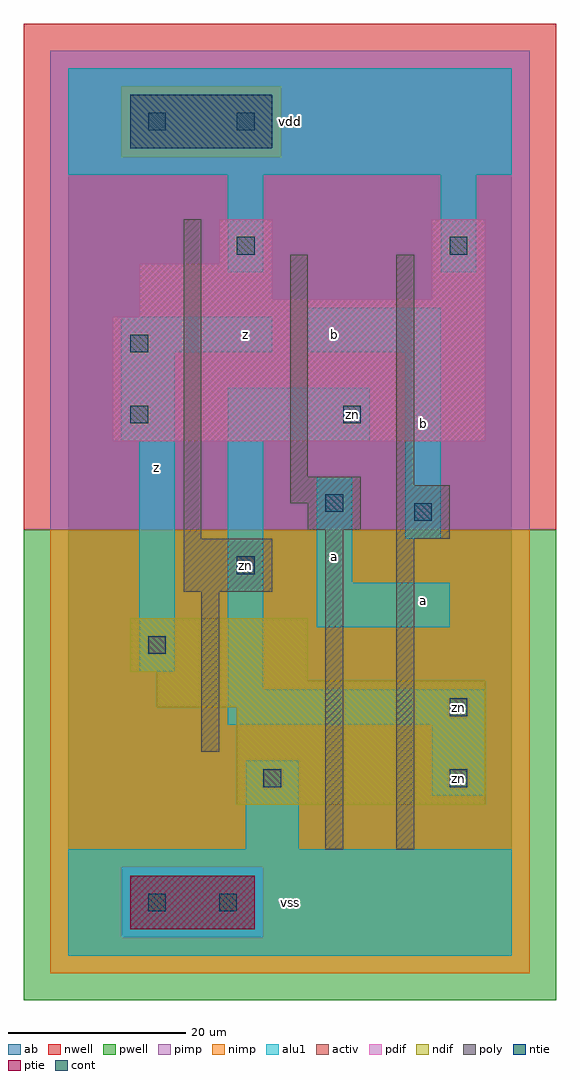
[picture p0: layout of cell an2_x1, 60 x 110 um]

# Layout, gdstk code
import gdstk
lib = gdstk.Library(unit=1e-6, precision=1e-09)
def R(c, l, rs):  # rectangles x0, y0, x1, y1
    for r in rs: c.add(gdstk.rectangle(r[:2], r[2:], *l))
ndif = (3, 0)
pdif = (4, 0)
ntie = (5, 0)
ptie = (6, 0)
cont = (25, 0)
pwell = (41, 0)
nwell = (42, 0)
activ = (43, 0)
pimp = (44, 0)
nimp = (45, 0)
poly = (46, 0)
alu1 = (49, 0)
ab = (63, 0)

an2_x1 = lib.new_cell('an2_x1')
R(an2_x1, ndif, [(19,17,47,28), (10,28,47,31), (10,31,27,32), (7,32,27,38)])
R(an2_x1, pdif, [(5,58,47,72), (8,72,47,74), (8,74,23,78), (41,74,47,83), (17,78,23,83)])
R(an2_x1, ntie, [(7,91,23,97)])
R(an2_x1, ptie, [(7,3,21,9)])
R(an2_x1, cont, [(9,5,11,7), (17,5,19,7), (22,19,24,21), (43,19,45,21), (43,27,45,29), (9,34,11,36), (19,43,21,45), (39,49,41,51), (29,50,31,52), (7,60,9,62), (31,60,33,62), (7,68,9,70), (19,79,21,81), (43,79,45,81), (9,93,11,95), (19,93,21,95)])
R(an2_x1, pwell, [(-5,-5,55,48)])
R(an2_x1, nwell, [(-5,48,55,105)])
R(an2_x1, activ, [(7,3,21,9), (19,17,47,28), (10,28,47,31), (10,31,27,32), (7,32,27,38), (5,58,47,72), (8,72,47,74), (8,74,23,78), (41,74,47,83), (17,78,23,83), (7,91,23,97)])
R(an2_x1, pimp, [(6,2,22,10), (-2,48,52,90), (-2,90,6,98), (24,90,52,98), (-2,98,52,102)])
R(an2_x1, nimp, [(-2,-2,52,2), (-2,2,6,10), (22,2,52,10), (-2,10,52,48), (6,90,24,98)])
R(an2_x1, poly, [(29,12,31,48), (37,12,39,47), (15,23,17,41), (13,41,23,47), (13,47,15,83), (37,47,43,53), (27,48,33,51), (25,51,33,54), (37,53,39,79), (25,54,27,79)])
R(an2_x1, alu1, [(0,0,50,12), (20,12,26,22), (41,18,47,26), (18,26,47,30), (18,30,22,58), (8,32,12,58), (28,37,43,42), (28,42,32,54), (38,47,42,68), (6,58,12,68), (18,58,34,64), (6,68,23,72), (27,68,42,73), (18,77,22,88), (42,77,46,88), (0,88,50,100)])
R(an2_x1, ab, [(0,0,50,100)])
an2_x1.add(gdstk.Label('zn', (20,44), layer=49, texttype=0))
an2_x1.add(gdstk.Label('zn', (44,20), layer=49, texttype=0))
an2_x1.add(gdstk.Label('zn', (44,28), layer=49, texttype=0))
an2_x1.add(gdstk.Label('zn', (32,61), layer=49, texttype=0))
an2_x1.add(gdstk.Label('z', (10,55), layer=49, texttype=0))
an2_x1.add(gdstk.Label('z', (20,70), layer=49, texttype=0))
an2_x1.add(gdstk.Label('vss', (25,6), layer=49, texttype=0))
an2_x1.add(gdstk.Label('a', (30,45), layer=49, texttype=0))
an2_x1.add(gdstk.Label('b', (30,70), layer=49, texttype=0))
an2_x1.add(gdstk.Label('vdd', (25,94), layer=49, texttype=0))
an2_x1.add(gdstk.Label('a', (40,40), layer=49, texttype=0))
an2_x1.add(gdstk.Label('b', (40,60), layer=49, texttype=0))

lib.write_gds('an2_x1.gds')
